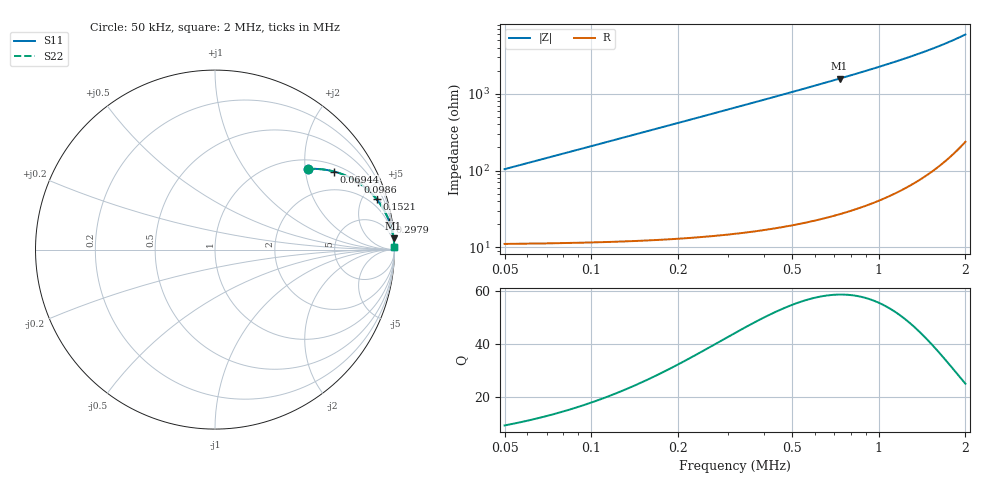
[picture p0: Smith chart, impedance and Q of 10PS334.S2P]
! Coilcraft 1008PS-334 Power Chip Inductor
! 7 October 2002
# MHZ S MA R 50
!Freq  MagS11  AngS11  MagS21  AngS21  MagS12  AngS12  MagS22  AngS22
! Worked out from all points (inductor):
!   403 points, 50 kHz to 2 MHz, reference 50 ohm
!   read as one part in series: L = 330 uH near 59.72 kHz
!   highest Q = 58.6 at 730.4 kHz (marker M1), where L = 344 uH
!   S11 on the Smith chart (normalised r, x): 50 kHz: 1.22, +2.07; 69.44 kHz: 1.22, +2.88; 98.6 kHz: 1.23, +4.09; 152.1 kHz: 1.24, +6.32; 297.9 kHz: 1, +12; 2 MHz: open
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0.05  0.6863 40.9  0.6582 -43.0  0.6582 -43.0  0.6863 40.9
0.05972  0.7473 36.8  0.6009 -48.1  0.6009 -48.1  0.7473 36.8
0.06944  0.7939 33.2  0.5495 -52.3  0.5495 -52.3  0.7939 33.2
0.08402  0.8444 28.8  0.4834 -57.4  0.4834 -57.4  0.8444 28.8
0.0986  0.8794 25.4  0.4292 -61.4  0.4292 -61.4  0.8794 25.4
0.1229  0.9169 21.0  0.359 -66.3  0.359 -66.3  0.9169 21.0
0.15206  0.943 17.3  0.2984 -70.4  0.2984 -70.4  0.943 17.3
0.18122  0.9586 14.7  0.2544 -73.4  0.2544 -73.4  0.9586 14.7
0.2201  0.9712 12.2  0.2119 -76.1  0.2119 -76.1  0.9712 12.2
0.25898  0.9788 10.4  0.1813 -78.1  0.1813 -78.1  0.9788 10.4
0.29786  0.9837 9.1  0.1582 -79.6  0.1582 -79.6  0.9837 9.1
0.37562  0.9895 7.2  0.1257 -81.6  0.1257 -81.6  0.9895 7.2
0.44366  0.9923 6.1  0.1063 -82.8  0.1063 -82.8  0.9923 6.1
0.52142  0.9943 5.2  0.09007 -83.8  0.09007 -83.8  0.9943 5.2
0.6089  0.9957 4.4  0.07665 -84.6  0.07665 -84.6  0.9957 4.4
0.70124  0.9967 3.8  0.066 -85.2  0.066 -85.2  0.9967 3.8
0.7304  0.9969 3.6  0.06317 -85.4  0.06317 -85.4  0.9969 3.6
0.86648  0.9977 3.0  0.05238 -86.0  0.05238 -86.0  0.9977 3.0
1.02686  0.9983 2.5  0.04315 -86.5  0.04315 -86.5  0.9983 2.5
1.35248  0.9989 1.8  0.0307 -87.0  0.0307 -87.0  0.9989 1.8
1.6781  0.9991 1.3  0.02262 -87.1  0.02262 -87.1  0.9991 1.3
2  0.9992 1.0  0.01683 -86.8  0.01683 -86.8  0.9992 1.0
